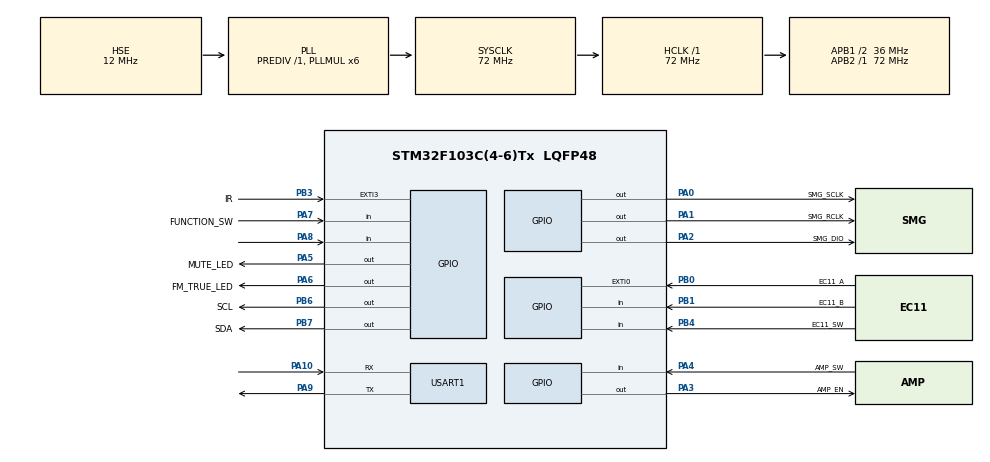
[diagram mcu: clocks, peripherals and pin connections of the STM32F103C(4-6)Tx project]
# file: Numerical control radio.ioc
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Mcu.Family=STM32F1
Mcu.Name=STM32F103C(4-6)Tx
Mcu.Package=LQFP48
NVIC.EXTI0_IRQn=true\:3\:0\:true\:false\:true\:true\:true\:true
NVIC.EXTI3_IRQn=true\:0\:0\:false\:false\:true\:true\:true\:true
NVIC.PriorityGroup=NVIC_PRIORITYGROUP_4
NVIC.TIM1_UP_IRQn=true\:0\:0\:false\:false\:true\:true\:true\:true
NVIC.TIM2_IRQn=true\:0\:0\:true\:false\:true\:true\:true\:true
NVIC.TIM3_IRQn=true\:0\:0\:false\:false\:true\:true\:true\:true
PA0-WKUP.GPIO_Label=SMG_SCLK
PA0-WKUP.GPIO_ModeDefaultOutputPP=GPIO_MODE_OUTPUT_PP
PA0-WKUP.GPIO_PuPd=GPIO_PULLUP
PA0-WKUP.GPIO_Speed=GPIO_SPEED_FREQ_HIGH
PA0-WKUP.PinState=GPIO_PIN_SET
PA0-WKUP.Signal=GPIO_Output
PA1.GPIO_Label=SMG_RCLK
PA1.GPIO_ModeDefaultOutputPP=GPIO_MODE_OUTPUT_PP
PA1.GPIO_PuPd=GPIO_PULLUP
PA1.GPIO_Speed=GPIO_SPEED_FREQ_HIGH
PA1.PinState=GPIO_PIN_SET
PA1.Signal=GPIO_Output
PA10.Mode=Asynchronous
PA10.Signal=USART1_RX
PA13.Mode=Serial_Wire
PA13.Signal=SYS_JTMS-SWDIO
PA14.Mode=Serial_Wire
PA14.Signal=SYS_JTCK-SWCLK
PA2.GPIO_Label=SMG_DIO
PA2.GPIO_ModeDefaultOutputPP=GPIO_MODE_OUTPUT_PP
PA2.GPIO_PuPd=GPIO_PULLUP
PA2.GPIO_Speed=GPIO_SPEED_FREQ_HIGH
PA2.PinState=GPIO_PIN_SET
PA2.Signal=GPIO_Output
PA3.GPIO_Label=AMP_EN
PA3.Signal=GPIO_Output
PA4.GPIO_Label=AMP_SW
PA4.GPIO_PuPd=GPIO_PULLUP
PA4.Signal=GPIO_Input
PA5.GPIO_Label=MUTE_LED
PA5.GPIO_ModeDefaultOutputPP=GPIO_MODE_OUTPUT_PP
PA5.GPIO_PuPd=GPIO_NOPULL
PA5.Signal=GPIO_Output
PA6.GPIO_Label=FM_TRUE_LED
PA6.GPIO_ModeDefaultOutputPP=GPIO_MODE_OUTPUT_PP
PA6.GPIO_PuPd=GPIO_NOPULL
PA6.Signal=GPIO_Output
PA7.GPIO_Label=FUNCTION_SW
PA7.GPIO_PuPd=GPIO_PULLUP
PA7.Signal=GPIO_Input
PA8.GPIO_PuPd=GPIO_PULLUP
PA8.Signal=GPIO_Input
PA9.Mode=Asynchronous
PA9.Signal=USART1_TX
PB0.GPIO_Label=EC11_A
PB0.GPIO_ModeDefaultEXTI=GPIO_MODE_IT_RISING
PB0.GPIO_PuPd=GPIO_PULLUP
PB0.Signal=GPXTI0
PB1.GPIO_Label=EC11_B
PB1.GPIO_PuPd=GPIO_PULLUP
PB1.Signal=GPIO_Input
PB3.GPIO_Label=IR
PB3.GPIO_ModeDefaultEXTI=GPIO_MODE_IT_FALLING
PB3.GPIO_PuPd=GPIO_PULLUP
PB3.Signal=GPXTI3
PB4.GPIO_Label=EC11_SW
PB4.GPIO_PuPd=GPIO_PULLUP
PB4.Signal=GPIO_Input
PB6.GPIO_Label=SCL
PB6.GPIO_ModeDefaultOutputPP=GPIO_MODE_OUTPUT_OD
PB6.GPIO_PuPd=GPIO_NOPULL
PB6.GPIO_Speed=GPIO_SPEED_FREQ_HIGH
PB6.PinState=GPIO_PIN_SET
PB6.Signal=GPIO_Output
PB7.GPIO_Label=SDA
PB7.GPIO_ModeDefaultOutputPP=GPIO_MODE_OUTPUT_OD
PB7.GPIO_PuPd=GPIO_NOPULL
PB7.GPIO_Speed=GPIO_SPEED_FREQ_HIGH
PB7.PinState=GPIO_PIN_SET
PB7.Signal=GPIO_Output
PD0-OSC_IN.Mode=HSE-External-Oscillator
PD0-OSC_IN.Signal=RCC_OSC_IN
PD1-OSC_OUT.Mode=HSE-External-Oscillator
PD1-OSC_OUT.Signal=RCC_OSC_OUT
ProjectManager.HeapSize=0x200
ProjectManager.StackSize=0x400
ProjectManager.TargetToolchain=MDK-ARM V5.32
RCC.AHBFreq_Value=72000000
RCC.APB1CLKDivider=RCC_HCLK_DIV2
RCC.APB1Freq_Value=36000000
RCC.APB1TimFreq_Value=72000000
RCC.APB2Freq_Value=72000000
RCC.APB2TimFreq_Value=72000000
RCC.HCLKFreq_Value=72000000
RCC.HSE_VALUE=12000000
RCC.PLLMUL=RCC_PLL_MUL6
RCC.PLLSourceVirtual=RCC_PLLSOURCE_HSE
RCC.SYSCLKFreq_VALUE=72000000
RCC.SYSCLKSource=RCC_SYSCLKSOURCE_PLLCLK
RCC.USBFreq_Value=72000000
TIM1.AutoReloadPreload=TIM_AUTORELOAD_PRELOAD_ENABLE
TIM1.Prescaler=72-1
TIM2.Period=200-1
TIM2.Prescaler=720-1
TIM3.Period=10000
TIM3.Prescaler=7200-1
USART1.VirtualMode=VM_ASYNC
VP_TIM1_VS_ClockSourceINT.Mode=Internal
VP_TIM2_VS_ClockSourceINT.Mode=Internal
VP_TIM3_VS_ClockSourceINT.Mode=Internal
board=custom

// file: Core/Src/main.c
/* USER CODE BEGIN Header */
/**
 ******************************************************************************
 * @file           : main.c
 * @brief          : Main program body
 ******************************************************************************
 * @attention
 *
 * Copyright (c) 2022 STMicroelectronics.
 * All rights reserved.
 *
 * This software is licensed under terms that can be found in the LICENSE file
 * in the root directory of this software component.
 * If no LICENSE file comes with this software, it is provided AS-IS.
 *
 ******************************************************************************
 */
/* USER CODE END Header */
#include "main.h"
#include "tim.h"
#include "usart.h"
#include "gpio.h"

/* USER CODE BEGIN Includes */
#include "RDA5807M.h"
#include "Print.h"
#include "MY.h"
#include "Rotary_Encoder.h"
#include "TUBE.h"
#include "IR_NEC.h"
/* USER CODE END Includes */

void SystemClock_Config(void);

/* USER CODE BEGIN 0 */

void HAL_GPIO_EXTI_Callback(uint16_t GPIO_Pin)
{
  if (GPIO_Pin == GPIO_PIN_0)
  {
    EC11_Decode(EC11_Change_Up, EC11_Change_Down);
  }
  else if (GPIO_Pin == GPIO_PIN_3)
  {
    IR_NEC_Read_Decode(air);
  }
}

void HAL_TIM_PeriodElapsedCallback(TIM_HandleTypeDef *htim)
{
  if (htim == &htim2)
  {

    if (Key_SW)
    {
      Function_Action();
      Key_Scan(&Key_AMP, AMP_Change, air);
      Key_Scan(&Key_FUNCTION, Function_Change, air);
      Key_Scan(&Key_EC11, EC11_Change, air);
      Key_Scan(&Key_DETERMINE, DETERMINE, air);
    }
    Tube_Send_Scan(Tube_Val, Tube_Spot_P);
  }
  else if (htim == &htim3)
  {
    if (Key_SW)
      check_R_D();
  }
}
uint32_t tohex(uint8_t *Val)
{
  uint32_t zj = 0;
  for (int i = 0; i < 4; i++)
  {
    zj <<= 8;
    zj |= Val[i];
  }
  return zj;
}
void IR_Right()
{
  int ins = 0;
  if (MY.function_ins == 0)
  {
    MY.function_ins = 1;
  }
  else if (MY.function_ins == 1)
  {
    MY.function_ins = 2;
    MY.Freq_ins = 3;
  }
  else if (MY.function_ins == 2)
  {
    ins = MY.Freq_ins;
    ins--;
    if (ins < 0)
    {
      ins = 0;
      MY.function_ins = 0;
    }
    MY.Freq_ins = ins;
  }
}
void IR_Left()
{
  if (MY.function_ins == 0)
  {
    MY.function_ins = 2;
  }
  else if (MY.function_ins == 1)
  {
    MY.function_ins = 0;
    MY.Freq_ins = 0;
  }
  else if (MY.function_ins == 2)
  {
    MY.Freq_ins++;
    if (MY.Freq_ins > 3)
    {
      MY.Freq_ins = 3;
      MY.function_ins = 1;
    }
  }
}
/* USER CODE END 0 */

int main(void)
{
  /* USER CODE BEGIN 1 */
  uint32_t zj = 0;
  uint8_t volume_zj = 0;
  /* USER CODE END 1 */

  /* MCU Configuration--------------------------------------------------------*/

  /* Reset of all peripherals, Initializes the Flash interface and the Systick. */
  HAL_Init();

  /* Configure the system clock */
  SystemClock_Config();

  /* Initialize all configured peripherals */
  MX_GPIO_Init();
  MX_USART1_UART_Init();
  MX_TIM1_Init();
  MX_TIM2_Init();
  MX_TIM3_Init();
  /* USER CODE BEGIN 2 */

  RDA5807M_init();
  HAL_Delay(500);
  RDA5807M_Set_Volume(2);
  HAL_Delay(50);
  radio_station_Len = RDA5807M_Search_ALL_Freq() - 1;
  RDA5807M_Set_Freq(10670);

  Key_SW = 1;
  AMP_EN(1);
  check_R_D();

  /* USER CODE END 2 */

  /* Infinite loop */
  while (1)
  {

    /* USER CODE BEGIN 3 */
    if (IR_NEC_Read_OK)
    {

      zj = tohex(IR_NEC_Read_Dat);
      if (zj == 0x00FF5AA5) //右
        IR_Right();
      else if (zj == 0x00FF10EF) //左
        IR_Left();
      else if (zj == 0x00FF18E7) //上
        EC11_Change_Up();
      else if (zj == 0x00FF4AB5) //下
        EC11_Change_Down();
      else if (zj == 0x00FF38C7) // OK
        DETERMINE();
      else if (zj == 0x00FF6897) //功放
        AMP_Change();
      else if (zj == 0x00FF6897) //功放
        AMP_Change();
      else if (zj == 0x00FFB04F)
      {

        if (MY.volume == 0)
          MY.volume = volume_zj;
        else
        {
          MY.volume = 0;
          volume_zj = MY.volume;
        }
        DETERMINE();
      }
      printf("%08X\r\n", zj);
      HAL_Delay(100);
      IR_NEC_Read_OK = 0;
    }
  }
  /* USER CODE END 3 */
}

void SystemClock_Config(void)
{
  RCC_OscInitTypeDef RCC_OscInitStruct = {0};
  RCC_ClkInitTypeDef RCC_ClkInitStruct = {0};

  /** Initializes the RCC Oscillators according to the specified parameters
   * in the RCC_OscInitTypeDef structure.
   */
  RCC_OscInitStruct.OscillatorType = RCC_OSCILLATORTYPE_HSE;
  RCC_OscInitStruct.HSEState = RCC_HSE_ON;
  RCC_OscInitStruct.HSEPredivValue = RCC_HSE_PREDIV_DIV1;
  RCC_OscInitStruct.HSIState = RCC_HSI_ON;
  RCC_OscInitStruct.PLL.PLLState = RCC_PLL_ON;
  RCC_OscInitStruct.PLL.PLLSource = RCC_PLLSOURCE_HSE;
  RCC_OscInitStruct.PLL.PLLMUL = RCC_PLL_MUL6;
  if (HAL_RCC_OscConfig(&RCC_OscInitStruct) != HAL_OK)
  {
    Error_Handler();
  }

  /** Initializes the CPU, AHB and APB buses clocks
   */
  RCC_ClkInitStruct.ClockType = RCC_CLOCKTYPE_HCLK | RCC_CLOCKTYPE_SYSCLK | RCC_CLOCKTYPE_PCLK1 | RCC_CLOCKTYPE_PCLK2;
  RCC_ClkInitStruct.SYSCLKSource = RCC_SYSCLKSOURCE_PLLCLK;
  RCC_ClkInitStruct.AHBCLKDivider = RCC_SYSCLK_DIV1;
  RCC_ClkInitStruct.APB1CLKDivider = RCC_HCLK_DIV2;
  RCC_ClkInitStruct.APB2CLKDivider = RCC_HCLK_DIV1;

  if (HAL_RCC_ClockConfig(&RCC_ClkInitStruct, FLASH_LATENCY_2) != HAL_OK)
  {
    Error_Handler();
  }
}

void Error_Handler(void)
{
  __disable_irq();
  while (1)
  {
  }
}
